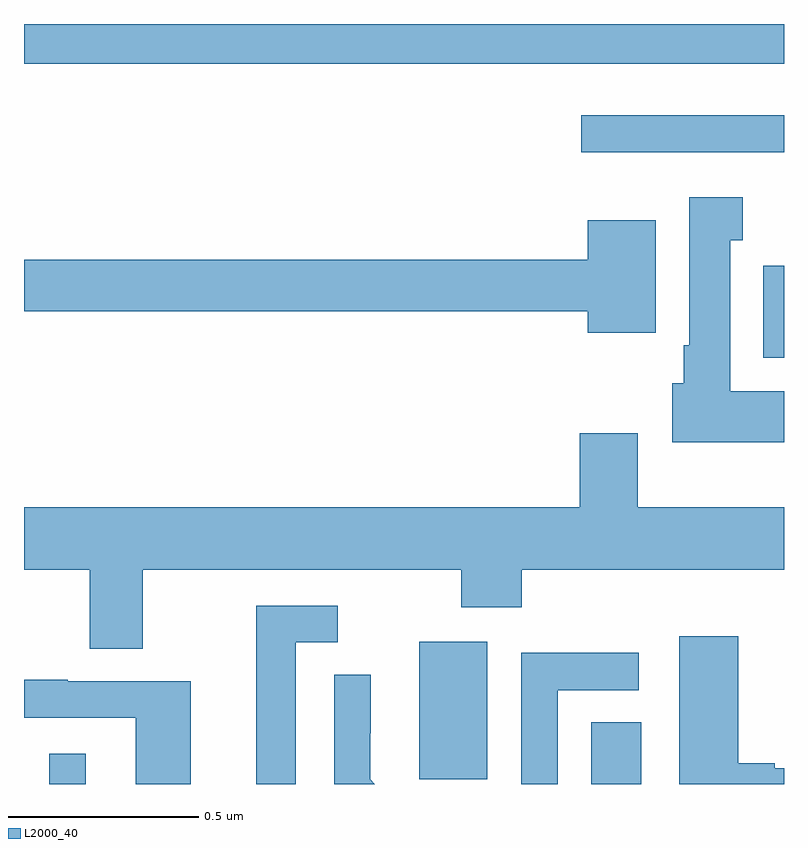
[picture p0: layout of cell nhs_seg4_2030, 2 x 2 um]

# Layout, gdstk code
import gdstk
lib = gdstk.Library(unit=1e-6, precision=1e-09)
def R(c, l, rs):  # rectangles x0, y0, x1, y1
    for r in rs: c.add(gdstk.rectangle(r[:2], r[2:], *l))
def P(c, l, *ps):  # polygons
    for p in ps: c.add(gdstk.Polygon(p, *l))
L2000_40 = (2000, 40)

nhs_seg4_2030 = lib.new_cell('nhs_seg4_2030')
R(nhs_seg4_2030, L2000_40, [(135.066,818.9,135.163,818.98), (136.493,818.9,136.624,819.062), (136.04,818.913,136.219,819.274), (136.946,820.022,137,820.264), (136.467,820.563,137,820.66), (135,820.796,137,820.9)])
P(nhs_seg4_2030, L2000_40, [(137,819.934),(136.858,819.934),(136.858,820.331),(136.891,820.331),(136.891,820.444),(136.751,820.444),(136.751,820.054),(136.736,820.054),(136.736,819.954),(136.706,819.954),(136.706,819.8),(137,819.8)],
  [(136.663,820.384),(136.484,820.384),(136.484,820.28),(135,820.28),(135,820.144),(136.484,820.144),(136.484,820.088),(136.663,820.088)],
  [(135.313,819.464),(136.15,819.464),(136.15,819.365),(136.31,819.365),(136.31,819.464),(137,819.464),(137,819.628),(136.615,819.628),(136.615,819.823),(136.463,819.823),(136.463,819.628),(135,819.628),(135,819.464),(135.173,819.464),(135.173,819.256),(135.313,819.256)],
  [(135.715,819.273),(135.826,819.273),(135.826,819.369),(135.611,819.369),(135.611,818.9),(135.715,818.9)],
  [(137,818.941),(136.975,818.941),(136.975,818.954),(136.879,818.954),(136.879,819.289),(136.724,819.289),(136.724,818.9),(137,818.9)],
  [(136.404,819.147),(136.618,819.147),(136.618,819.246),(136.308,819.246),(136.308,818.9),(136.404,818.9)],
  [(135.911,818.912),(135.911,819.034),(135.912,819.034),(135.912,819.188),(135.816,819.188),(135.816,818.9),(135.923,818.9)],
  [(135.439,819.171),(135.115,819.171),(135.115,819.175),(135,819.175),(135,819.075),(135.294,819.075),(135.294,818.9),(135.439,818.9)])

lib.write_gds('nhs_seg4_2030.gds')
